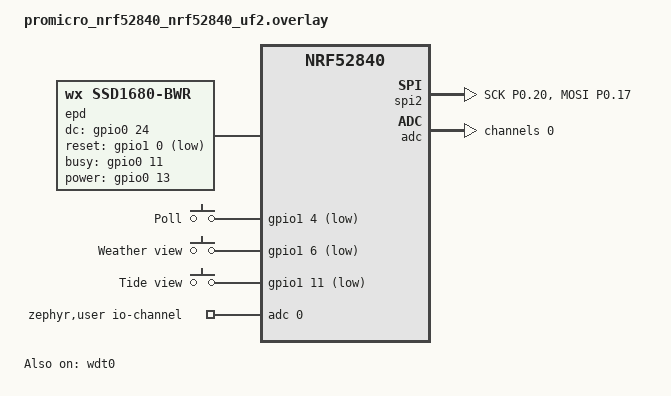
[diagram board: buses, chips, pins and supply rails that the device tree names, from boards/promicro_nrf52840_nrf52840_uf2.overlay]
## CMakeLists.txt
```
# SPDX-License-Identifier: Apache-2.0
cmake_minimum_required(VERSION 3.20.0)

list(APPEND DTS_ROOT ${CMAKE_CURRENT_SOURCE_DIR})

find_package(Zephyr REQUIRED HINTS $ENV{ZEPHYR_BASE})
project(wxpaper)

target_sources(app PRIVATE
	src/main.c
	src/epd_ssd1680.c
	src/framebuf.c
	src/battery.c
	src/wx_service.c
	src/button.c
)
target_sources_ifdef(CONFIG_WX_DEVCMD app PRIVATE src/devcmd.c)
```

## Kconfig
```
# SPDX-License-Identifier: Apache-2.0
mainmenu "WxPaper e-paper weather display"

menu "WxPaper"

config WX_POLL_INTERVAL_S
	int "Default poll interval (s)"
	default 600
	range 60 86400
	help
	  Time between wake-ups that advertise for new data. The host can
	  override it at runtime with the SET_INTERVAL control op.

config WX_RETRY_INTERVAL_S
	int "Retry interval after a failed poll (s)"
	default 300
	help
	  After a poll where no host connected, the next poll happens this
	  much sooner (once), in case the host was briefly unavailable.

config WX_ADV_WINDOW_S
	int "Advertising window per poll (s)"
	default 30

config WX_SESSION_TIMEOUT_S
	int "GATT inactivity timeout before the device disconnects (s)"
	default 20

config WX_STALE_AFTER_S
	int "Draw the offline marker after this long without host contact (s)"
	default 10800

config WX_LOW_BATT_MV
	int "Low battery threshold (mV): show marker"
	default 3400

config WX_CRIT_BATT_MV
	int "Critical battery threshold (mV): stop refreshing, poll slowly"
	default 3300

config WX_CRIT_POLL_INTERVAL_S
	int "Poll interval while battery is critical (s)"
	default 7200

config WX_TIDE_VIEW_S
	int "Tide view auto-return to weather after (s)"
	default 180
	range 10 86400
	help
	  After the TIDE button, the panel goes back to the weather view this
	  long after the tide view was drawn, unless the WEATHER (home) button
	  is pressed first. Another TIDE press restarts the timer.

config WX_ROTATION
	int "Landscape rotation used by on-device overlays (90 or 270)"
	default 90
	help
	  Must match the host renderer's `rotate` setting so the device's own
	  splash/offline text is upright.

config WX_EPD_RED_INVERT
	bool "Invert the red RAM plane when writing to the panel"
	help
	  Protocol payloads use 1 = red. Some SSD1680 B/W/R panels expect
	  0 = red in RAM 0x26; enable this if red areas come out inverted.

config WX_EPD_BUSY_TIMEOUT_MS
	int "Max time to wait for a full refresh (ms)"
	default 40000

config WX_WDT_TIMEOUT_S
	int "Watchdog timeout (s)"
	default 10800
	help
	  The watchdog keeps running while the CPU sleeps; the main loop
	  sleeps in chunks of at most WX_WDT_TIMEOUT_S / 3 and feeds it.

config WX_DEVCMD
	bool "Debug command console on the USB CDC ACM port"
	depends on SERIAL && UART_INTERRUPT_DRIVEN && UART_LINE_CTRL
	help
	  Line commands poll / reset / boot / help, plus 1200-baud touch to
	  enter the UF2 bootloader. Also owns USB power management: the USB
	  device is enabled only while VBUS is present.

endmenu

source "Kconfig.zephyr"
```

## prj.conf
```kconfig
# ---- Production (battery) configuration. Debug extras live in debug.conf ----

# USB CDC ACM console + logging, powered only while a cable is attached.
# The board helper registers the CDC ACM UART, but must NOT enable USB at boot:
# udc_nrf_enable() requests the HFXO (~250+ uA continuous) regardless of VBUS.
# src/devcmd.c enables USB on VBUS_READY and disables it on VBUS_REMOVED.
CONFIG_BOARD_SERIAL_BACKEND_CDC_ACM=y
CONFIG_CDC_ACM_SERIAL_ENABLE_AT_BOOT=n
CONFIG_LOG=y
CONFIG_LOG_BACKEND_UART=y
CONFIG_LOG_DEFAULT_LEVEL=3
CONFIG_UART_INTERRUPT_DRIVEN=y
CONFIG_UART_LINE_CTRL=y
# Dev console: poll / reset / boot, 1200-baud touch -> UF2 bootloader
CONFIG_WX_DEVCMD=y

# Peripherals
CONFIG_GPIO=y
CONFIG_SPI=y
CONFIG_ADC=y
CONFIG_WATCHDOG=y
CONFIG_CRC=y
CONFIG_HWINFO=y

# Power management: SPIM suspends between transfers (pins disconnected)
CONFIG_PM_DEVICE=y
CONFIG_PM_DEVICE_RUNTIME=y

# Bluetooth peripheral
CONFIG_BT=y
CONFIG_BT_PERIPHERAL=y
CONFIG_BT_DEVICE_NAME="WxPaper"
CONFIG_BT_MAX_CONN=1
CONFIG_BT_MAX_PAIRED=0
CONFIG_BT_SMP=n
CONFIG_BT_GATT_CACHING=n
CONFIG_BT_GATT_SERVICE_CHANGED=n
CONFIG_BT_DIS=n

# Throughput: 247-byte MTU, 251-byte data length, 2M PHY
CONFIG_BT_L2CAP_TX_MTU=247
CONFIG_BT_BUF_ACL_TX_SIZE=251
CONFIG_BT_BUF_ACL_RX_SIZE=251
CONFIG_BT_BUF_ACL_RX_COUNT_EXTRA=8
CONFIG_BT_CTLR_DATA_LENGTH_MAX=251
CONFIG_BT_USER_DATA_LEN_UPDATE=y
CONFIG_BT_USER_PHY_UPDATE=y
CONFIG_BT_GAP_AUTO_UPDATE_CONN_PARAMS=n
# Note: CONFIG_BT_CONN_PARAM_UPDATE_TIMEOUT=0 (request the fast interval at
# once) was tried in bring-up: BlueZ then forced its 48.75 ms default anyway.
# Kept at the spec default (5 s); see docs/bringup-log.md.

# Stacks
CONFIG_MAIN_STACK_SIZE=2048
CONFIG_SYSTEM_WORKQUEUE_STACK_SIZE=2048

# Robustness
CONFIG_RESET_ON_FATAL_ERROR=y
CONFIG_ASSERT=n
CONFIG_REBOOT=y
```

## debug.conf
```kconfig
# Debug overlay: west build ... -- -DEXTRA_CONF_FILE=debug.conf
# The USB console and logging are in prj.conf (USB powered only with a cable).
# Debug adds asserts and halts on fatal errors instead of resetting.
CONFIG_ASSERT=y
CONFIG_RESET_ON_FATAL_ERROR=n
# Poll cadence uses the production defaults (30 min / 5 min retry / 3 h stale).
# Trigger an immediate poll with `scripts/devcmd.sh poll` or the poll button.
```

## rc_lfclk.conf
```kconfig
# For ProMicro clones without a 32.768 kHz crystal: use the internal RC
# oscillator (calibrated). Costs ~1 uA extra and wider BLE RX windows.
#   west build ... -- -DEXTRA_CONF_FILE=rc_lfclk.conf
CONFIG_CLOCK_CONTROL_NRF_K32SRC_RC=y
CONFIG_CLOCK_CONTROL_NRF_K32SRC_500PPM=y
```

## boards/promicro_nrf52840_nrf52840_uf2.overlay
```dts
/*
 * nice!nano / ProMicro nRF52840 + 2.9" SSD1680 B/W/R breakout.
 * Wiring (see docs/hardware.md):
 *   breakout  ->  nice!nano pin
 *   VCC       ->  VCC (3.3 V, switched by P0.13)
 *   GND       ->  GND
 *   CLK/SCL   ->  P0.20 (D3)
 *   DIN/SDA   ->  P0.17 (D2)
 *   CS        ->  P0.22 (D4)
 *   DC        ->  P0.24 (D5)
 *   RST       ->  P1.00 (D6)
 *   BUSY      ->  P0.11 (D7)
 *
 * Buttons: momentary switches to GND (internal pull-ups, active low):
 *   POLL    -> P1.04 (D8)   poll the host now
 *   WEATHER -> P1.06 (D9)   show weather view
 *   TIDE    -> P1.11 (D14)  show tide view
 */
#include <zephyr/dt-bindings/adc/nrf-saadc.h>

/ {
	chosen {
		/* Release build has no console; debug.conf re-enables CDC ACM. */
	};

	epd: epd {
		compatible = "wx,ssd1680-bwr";
		spi-bus = <&spi2>;
		spi-max-frequency = <4000000>;
		cs-gpios = <&gpio0 22 GPIO_ACTIVE_LOW>;
		dc-gpios = <&gpio0 24 GPIO_ACTIVE_HIGH>;
		reset-gpios = <&gpio1 0 GPIO_ACTIVE_LOW>;
		busy-gpios = <&gpio0 11 GPIO_ACTIVE_HIGH>;
		/* nice!nano v2: P0.13 high enables the VCC pin. Delete on boards without it. */
		power-gpios = <&gpio0 13 GPIO_ACTIVE_HIGH>;
		power-on-delay-ms = <20>;
	};

	buttons {
		compatible = "gpio-keys";
		/* Press = poll the host now (works on battery; no USB needed). */
		poll_button: poll_button {
			gpios = <&gpio1 4 (GPIO_PULL_UP | GPIO_ACTIVE_LOW)>;
			label = "Poll";
		};
		/* Press = show the weather / tide view (redrawn from images stored on the device). */
		weather_button: weather_button {
			gpios = <&gpio1 6 (GPIO_PULL_UP | GPIO_ACTIVE_LOW)>;
			label = "Weather view";
		};
		tide_button: tide_button {
			gpios = <&gpio1 11 (GPIO_PULL_UP | GPIO_ACTIVE_LOW)>;
			label = "Tide view";
		};
	};

	zephyr,user {
		io-channels = <&adc 0>;
	};
};

&pinctrl {
	spi2_epd_default: spi2_epd_default {
		group1 {
			psels = <NRF_PSEL(SPIM_SCK, 0, 20)>,
				<NRF_PSEL(SPIM_MOSI, 0, 17)>;
		};
	};

	spi2_epd_sleep: spi2_epd_sleep {
		group1 {
			psels = <NRF_PSEL(SPIM_SCK, 0, 20)>,
				<NRF_PSEL(SPIM_MOSI, 0, 17)>;
			low-power-enable;
		};
	};
};

&spi2 {
	compatible = "nordic,nrf-spim";
	status = "okay";
	pinctrl-0 = <&spi2_epd_default>;
	pinctrl-1 = <&spi2_epd_sleep>;
	pinctrl-names = "default", "sleep";
	/* Suspend (pins -> disconnected) whenever no transfer is running. */
	zephyr,pm-device-runtime-auto;
};

/* Battery: nice!nano feeds the cell to VDDH; measure VDDH/5 internally. */
&adc {
	#address-cells = <1>;
	#size-cells = <0>;
	status = "okay";
	zephyr,pm-device-runtime-auto;

	channel@0 {
		reg = <0>;
		zephyr,gain = "ADC_GAIN_1_6";
		zephyr,reference = "ADC_REF_INTERNAL";
		zephyr,acquisition-time = <ADC_ACQ_TIME(ADC_ACQ_TIME_MICROSECONDS, 40)>;
		zephyr,input-positive = <NRF_SAADC_VDDHDIV5>;
		zephyr,resolution = <12>;
		zephyr,oversampling = <4>;
	};
};

/* Unused peripherals off: nothing left clocked or holding pins. */
&uart0 { status = "disabled"; };
&i2c0 { status = "disabled"; };
&i2c1 { status = "disabled"; };
&pwm0 { status = "disabled"; };
&ieee802154 { status = "disabled"; };

&wdt0 { status = "okay"; };

/*
 * Edge detection for the buttons via the GPIO SENSE/PORT mechanism instead of a
 * GPIOTE IN channel: GPIOTE IN events keep extra clocks running (~tens of uA),
 * SENSE costs ~nothing in System ON idle.
 */
&gpio1 {
	sense-edge-mask = <((1 << 4) | (1 << 6) | (1 << 11))>;
};
```

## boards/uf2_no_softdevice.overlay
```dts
/*
 * For Adafruit-UF2-bootloader boards WITHOUT a SoftDevice (INFO_UF2.TXT says
 * "SoftDevice: not found", common on ProMicro/SuperMini clones). The bootloader
 * then starts the app right after the MBR at 0x1000 instead of 0x26000.
 *   west build ... -- -DEXTRA_DTC_OVERLAY_FILE=boards/uf2_no_softdevice.overlay
 * Layout: 0x0 MBR (4 KB) | 0x1000 app (940 KB) | 0xEC000 storage | 0xF4000 UF2 bootloader
 */
/delete-node/ &code_partition;
/delete-node/ &reserved_partition_0;

&flash0 {
	partitions {
		mbr_partition: partition@0 {
			label = "MBR";
			read-only;
			reg = <0x00000000 0x00001000>;
		};

		code_partition: partition@1000 {
			label = "Application";
			reg = <0x00001000 0x000eb000>;
		};
	};
};
```

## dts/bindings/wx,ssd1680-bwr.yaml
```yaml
# SPDX-License-Identifier: Apache-2.0
description: |
  SSD1680 black/white/red e-paper panel driven directly by the app (not
  via Zephyr's mono-only ssd16xx driver). Chip select is a plain GPIO so
  every line to the panel can be disconnected while panel power is off.

compatible: "wx,ssd1680-bwr"

include: base.yaml

properties:
  spi-bus:
    type: phandle
    required: true
    description: SPI controller the panel is wired to.
  spi-max-frequency:
    type: int
    default: 4000000
  cs-gpios:
    type: phandle-array
    required: true
  dc-gpios:
    type: phandle-array
    required: true
    description: Data/command select (high = data).
  reset-gpios:
    type: phandle-array
    required: true
  busy-gpios:
    type: phandle-array
    required: true
    description: BUSY output of the panel, active high.
  power-gpios:
    type: phandle-array
    description: |
      Optional switch for panel supply (nice!nano VCC switch on P0.13).
      Active state = panel powered.
  power-on-delay-ms:
    type: int
    default: 20
```

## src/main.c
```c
/*
 * WxPaper: battery-powered BLE e-paper weather display.
 * Main state machine: poll host -> (maybe) refresh panel -> sleep.
 * See docs/firmware.md.
 *
 * SPDX-License-Identifier: Apache-2.0
 */
#include <zephyr/device.h>
#include <zephyr/drivers/hwinfo.h>
#include <zephyr/drivers/watchdog.h>
#include <zephyr/kernel.h>
#include <zephyr/logging/log.h>
#include <zephyr/sys/atomic.h>
#include <zephyr/sys/crc.h>
#include <zephyr/sys/reboot.h>

#include <string.h>

#include "battery.h"
#include "button.h"
#include "devcmd.h"
#include "epd_ssd1680.h"
#include "framebuf.h"
#include "wake.h"
#include "wx_service.h"

LOG_MODULE_REGISTER(main, LOG_LEVEL_INF);

static uint8_t fb[FB_BYTES];

static const struct device *const wdt = DEVICE_DT_GET_OR_NULL(DT_NODELABEL(wdt0));
static int wdt_channel = -1;

static void wdt_start(void)
{
	if (!wdt || !device_is_ready(wdt)) {
		return;
	}
	const struct wdt_timeout_cfg cfg = {
		.window = {.min = 0, .max = (uint32_t)CONFIG_WX_WDT_TIMEOUT_S * 1000U},
		.flags = WDT_FLAG_RESET_SOC,
	};

	wdt_channel = wdt_install_timeout(wdt, &cfg);
	if (wdt_channel < 0) {
		LOG_ERR("wdt install %d", wdt_channel);
		return;
	}
	/* Keep counting while the CPU sleeps: catches a hung main loop. */
	int err = wdt_setup(wdt, WDT_OPT_PAUSE_HALTED_BY_DBG);

	if (err) {
		LOG_ERR("wdt setup %d", err);
		wdt_channel = -1;
	}
}

static void wdt_kick(void)
{
	if (wdt_channel >= 0) {
		(void)wdt_feed(wdt, wdt_channel);
	}
}

static K_SEM_DEFINE(wake_sem, 0, 1);

#define EV_POLL BIT(0)
#define EV_VIEW BIT(1)
static atomic_t events;
static atomic_t req_view = ATOMIC_INIT(WX_VIEW_WEATHER);

void wx_wake_now(void)
{
	atomic_or(&events, EV_POLL);
	k_sem_give(&wake_sem);
}

void wx_request_view(int view)
{
	atomic_set(&req_view, view);
	atomic_or(&events, EV_VIEW);
	k_sem_give(&wake_sem);
}

/*
 * Sleep until the uptime deadline, in chunks short enough to keep feeding
 * the watchdog. Ends early on a wake request (poll or view button, debug
 * console). The CPU idles in System ON either way: a semaphore wait with
 * timeout costs the same as k_sleep(). A request made while polling or
 * refreshing is kept: it ends this sleep at once.
 */
static void sleep_until(int64_t deadline_ms)
{
	const int64_t chunk_ms = (int64_t)MAX(CONFIG_WX_WDT_TIMEOUT_S / 3, 60) * 1000;

	for (;;) {
		int64_t remaining = deadline_ms - k_uptime_get();

		if (remaining <= 0) {
			return;
		}
		bool woken = k_sem_take(&wake_sem, K_MSEC(MIN(remaining, chunk_ms))) == 0;

		wdt_kick();
		if (woken) {
			return;
		}
	}
}

/*
 * Build what the panel should show: the selected view's stored image (or a
 * placeholder if the host never sent one), plus the OFFLINE badge if stale.
 * Slot images stay untouched, so overlays come and go without the host
 * having to resend anything.
 */
static void compose(int view, bool stale)
{
	uint32_t crc;
	const uint8_t *img = wx_slot(view, &crc);

	if (img) {
		memcpy(fb, img, FB_BYTES);
		if (stale) {
			fb_draw_offline(fb);
		}
	} else if (view == WX_VIEW_TIDE) {
		fb_draw_splash(fb, "TIDES", "NO DATA YET");
	} else {
		fb_draw_splash(fb, "WXPAPER", "WAITING FOR HOST");
	}
}

/* Full refresh; returns the CRC now on the panel (0 = unknown, retry next time). */
static uint32_t refresh(struct wx_status *st)
{
	int err = epd_show(fb, fb + EPD_PLANE_BYTES);

	st->refresh_count++;
	if (err) {
		st->flags |= WX_FLAG_REFRESH_FAILED;
		return 0;
	}
	st->flags &= ~WX_FLAG_REFRESH_FAILED;
	return crc32_ieee(fb, FB_BYTES);
}

/*
 * The splash costs a full refresh; only draw it when a person caused the
 * reset (power-on, reset button), not after a watchdog/fault/software reset,
 * so a crash loop doesn't keep flashing the panel and draining the cell.
 */
static bool want_splash(void)
{
	uint32_t cause = 0;

	if (hwinfo_get_reset_cause(&cause) != 0) {
		return true;
	}
	(void)hwinfo_clear_reset_cause();
	/* nRF reports a plain power-on as cause 0; RESETREAS bits accumulate until cleared. */
	return (cause & RESET_PIN) ||
	       !(cause & (RESET_WATCHDOG | RESET_SOFTWARE | RESET_CPU_LOCKUP));
}

int main(void)
{
	struct wx_status st = {
		.battery_pct = 255,
		.flags = WX_FLAG_NO_IMAGE,
		.view = WX_VIEW_WEATHER,
	};
	int64_t last_contact_ms = k_uptime_get();
	int64_t next_poll_ms = 0; /* poll right after boot */
	int64_t tide_until_ms = 0; /* tide view: auto-return to weather at this uptime */
	bool tide_timer_pending = false; /* start the timer once the tide view is drawn */
	uint32_t shown_crc;       /* CRC of the composed image on the panel */
	bool retry_pending = false;
	bool stale = false;
	bool crit = false;
	bool crit_shown = false;
	int err;

	wdt_start();
#if defined(CONFIG_WX_DEVCMD)
	(void)devcmd_init();
#endif
	err = button_init();
	if (err && err != -ENODEV) {
		LOG_ERR("button init %d", err);
	}

	err = epd_init();
	if (err) {
		LOG_ERR("epd init %d", err);
	}
	err = battery_init();
	if (err) {
		LOG_ERR("battery init %d", err);
	}
	err = wx_service_init();
	if (err) {
		LOG_ERR("bt init %d", err);
		/* Without BLE the device is useless: back off, then reboot and retry. */
		k_sleep(K_SECONDS(60));
		sys_reboot(SYS_REBOOT_COLD);
	}

	int mv = battery_read_mv();

	compose(st.view, false);
	if (want_splash() && (mv <= 0 || mv >= CONFIG_WX_CRIT_BATT_MV)) {
		shown_crc = refresh(&st);
	} else {
		/* Leave the panel alone; the first host image will differ and refresh it. */
		shown_crc = crc32_ieee(fb, FB_BYTES);
	}

	for (;;) {
		sleep_until(st.view == WX_VIEW_TIDE && !tide_timer_pending
				    ? MIN(next_poll_ms, tide_until_ms)
				    : next_poll_ms);
		wdt_kick();

		uint32_t ev = (uint32_t)atomic_clear(&events);
		bool do_poll = (ev & EV_POLL) || k_uptime_get() >= next_poll_ms;

		if (ev & EV_VIEW) {
			int v = (int)atomic_get(&req_view);

			if (v != st.view) {
				LOG_INF("view %d -> %d", st.view, v);
				st.view = (uint8_t)v;
			}
			/* A (repeated) TIDE press (re)starts the return-to-weather timer. */
			tide_timer_pending = v == WX_VIEW_TIDE;
		} else if (st.view == WX_VIEW_TIDE && !tide_timer_pending &&
			   k_uptime_get() >= tide_until_ms) {
			LOG_INF("tide view timeout -> weather");
			st.view = WX_VIEW_WEATHER;
		}

		if (do_poll) {
			mv = battery_read_mv();
			bool mv_valid = mv > 0;
			bool low = mv_valid && mv < CONFIG_WX_LOW_BATT_MV;

			crit = mv_valid && mv < CONFIG_WX_CRIT_BATT_MV;
			st.battery_mv = mv_valid ? (uint16_t)mv : 0;
			st.battery_pct = mv_valid ? battery_pct(mv) : 255;
			WRITE_BIT(st.flags, 1, low); /* WX_FLAG_LOW_BATT */

			wx_service_set_status(&st);
			enum wx_poll_result res = wx_poll();
			int64_t now = k_uptime_get();
			uint32_t crc0;

			LOG_INF("poll result %d, batt %d mV", res, mv);
			WRITE_BIT(st.flags, 2, wx_slot(WX_SLOT_WEATHER, &crc0) == NULL);

			if (res != WX_POLL_NO_CONTACT) {
				last_contact_ms = now;
				retry_pending = false;
				stale = false;
			} else {
				/* Never call it stale before at least two polls were missed. */
				int64_t stale_s = MAX((int64_t)CONFIG_WX_STALE_AFTER_S,
						      2 * (int64_t)wx_poll_interval_s() + 300);

				stale = (now - last_contact_ms) / 1000 >= stale_s;
			}
			WRITE_BIT(st.flags, 0, stale); /* WX_FLAG_STALE_SHOWN */

			uint32_t interval =
				crit ? CONFIG_WX_CRIT_POLL_INTERVAL_S : wx_poll_interval_s();

			if (res == WX_POLL_NO_CONTACT && !retry_pending) {
				/* One early retry per outage; cleared on the next contact. */
				retry_pending = true;
				interval = MIN(interval, CONFIG_WX_RETRY_INTERVAL_S);
			}
			next_poll_ms = now + (int64_t)interval * 1000;
		}

		if (crit) {
			/*
			 * A full refresh draws several mA for ~20 s and can brown out a
			 * nearly empty cell. Show LOW BATTERY once, then stop refreshing
			 * (view buttons included) until the cell recovers.
			 */
			if (!crit_shown) {
				compose(st.view, stale);
				fb_draw_low_batt(fb);
				(void)refresh(&st);
				shown_crc = 0; /* redraw without the badge once charged */
				crit_shown = true;
			}
			/* No refreshes: stay on (and report) the weather view. */
			st.view = WX_VIEW_WEATHER;
			tide_timer_pending = false;
			continue;
		}
		crit_shown = false;

		/* Refresh only if the composed image differs from what is on the panel. */
		compose(st.view, stale);
		if (crc32_ieee(fb, FB_BYTES) != shown_crc) {
			shown_crc = refresh(&st);
		}
		if (tide_timer_pending) {
			/* Counted from when the tide view is on the panel, not from the press. */
			tide_until_ms = k_uptime_get() + (int64_t)CONFIG_WX_TIDE_VIEW_S * 1000;
			tide_timer_pending = false;
		}
	}

	return 0;
}
```

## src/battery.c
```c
/*
 * Battery voltage via SAADC VDDH/5 (nice!nano runs the nRF52840 in
 * high-voltage mode with the cell on VDDH). One-shot sample per poll.
 * SPDX-License-Identifier: Apache-2.0
 */
#include "battery.h"

#include <errno.h>
#include <zephyr/devicetree.h>
#include <zephyr/drivers/adc.h>
#include <zephyr/sys/util.h>

static const struct adc_dt_spec vddh = ADC_DT_SPEC_GET_BY_IDX(DT_PATH(zephyr_user), 0);

int battery_init(void)
{
	if (!adc_is_ready_dt(&vddh)) {
		return -ENODEV;
	}
	return adc_channel_setup_dt(&vddh);
}

int battery_read_mv(void)
{
	int16_t raw = 0;
	struct adc_sequence seq = {
		.buffer = &raw,
		.buffer_size = sizeof(raw),
	};
	int err = adc_sequence_init_dt(&vddh, &seq);

	if (!err) {
		err = adc_read_dt(&vddh, &seq);
	}
	if (err) {
		return err;
	}

	int32_t mv = MAX(raw, 0);

	err = adc_raw_to_millivolts_dt(&vddh, &mv);
	if (err) {
		return err;
	}
	return (int)(mv * 5); /* VDDH/5 input */
}

uint8_t battery_pct(int mv)
{
	/* Resting LiPo discharge curve (approximate). */
	static const struct {
		uint16_t mv;
		uint8_t pct;
	} curve[] = {
		{4200, 100}, {4100, 90}, {4000, 79}, {3900, 66}, {3800, 52}, {3750, 42},
		{3700, 31}, {3650, 21}, {3600, 13}, {3500, 6}, {3400, 3}, {3300, 0},
	};

	if (mv >= curve[0].mv) {
		return 100;
	}
	for (size_t i = 1; i < ARRAY_SIZE(curve); i++) {
		if (mv >= curve[i].mv) {
			int span = curve[i - 1].mv - curve[i].mv;
			int dp = curve[i - 1].pct - curve[i].pct;

			return (uint8_t)(curve[i].pct + (mv - curve[i].mv) * dp / span);
		}
	}
	return 0;
}
```

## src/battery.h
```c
/*
 * SPDX-License-Identifier: Apache-2.0
 */
#pragma once

#include <stdint.h>

int battery_init(void);
/* Returns battery (VDDH) voltage in mV, or negative errno. ADC is idle afterwards. */
int battery_read_mv(void);
/* Rough LiPo state of charge from voltage (0..100). */
uint8_t battery_pct(int mv);
```

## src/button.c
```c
/*
 * Push buttons (all optional, from devicetree):
 *   poll_button    - poll the host immediately
 *   weather_button - show the weather view
 *   tide_button    - show the tide view
 * All work in release (battery) builds. Edge detection uses GPIO SENSE (see
 * `sense-edge-mask` in the board overlay), so waiting for a press costs
 * nothing in System ON idle. The user LED blinks briefly as acknowledgement,
 * since a poll that finds no new data (or a press of the view already shown)
 * changes nothing on the panel.
 *
 * SPDX-License-Identifier: Apache-2.0
 */
#include "button.h"

#include <errno.h>
#include <zephyr/devicetree.h>
#include <zephyr/drivers/gpio.h>
#include <zephyr/kernel.h>
#include <zephyr/logging/log.h>
#include <zephyr/sys/util.h>

#include "wake.h"

LOG_MODULE_REGISTER(button, LOG_LEVEL_INF);

#define DEBOUNCE_MS 30
#define BLINK_MS    50

struct button {
	struct gpio_dt_spec spec;
	const char *name;
	void (*action)(void);
	struct gpio_callback cb;
	struct k_work_delayable debounce;
};

static void act_poll(void)
{
	wx_wake_now();
}

static void act_weather(void)
{
	wx_request_view(WX_VIEW_WEATHER);
}

static void act_tide(void)
{
	wx_request_view(WX_VIEW_TIDE);
}

#define BUTTON_ENTRY(label, fn)                                                                    \
	IF_ENABLED(DT_NODE_EXISTS(DT_NODELABEL(label)),                                            \
		   ({.spec = GPIO_DT_SPEC_GET(DT_NODELABEL(label), gpios),                         \
		     .name = #label,                                                               \
		     .action = fn},))

static struct button buttons[] = {
	BUTTON_ENTRY(poll_button, act_poll)
	BUTTON_ENTRY(weather_button, act_weather)
	BUTTON_ENTRY(tide_button, act_tide)
};

#if DT_NODE_EXISTS(DT_ALIAS(led0))
static const struct gpio_dt_spec led = GPIO_DT_SPEC_GET(DT_ALIAS(led0), gpios);
#define HAVE_LED 1
#else
#define HAVE_LED 0
#endif

static void led_off_fn(struct k_work *work)
{
	ARG_UNUSED(work);
#if HAVE_LED
	gpio_pin_set_dt(&led, 0);
	/* Back to disconnected: no pin left driven in sleep. */
	gpio_pin_configure_dt(&led, GPIO_DISCONNECTED);
#endif
}
static K_WORK_DELAYABLE_DEFINE(led_off_work, led_off_fn);

static void debounce_fn(struct k_work *work)
{
	struct button *b =
		CONTAINER_OF(k_work_delayable_from_work(work), struct button, debounce);

	if (gpio_pin_get_dt(&b->spec) <= 0) {
		return; /* bounce / glitch */
	}
	LOG_INF("%s pressed", b->name);
#if HAVE_LED
	gpio_pin_configure_dt(&led, GPIO_OUTPUT_ACTIVE);
	k_work_reschedule(&led_off_work, K_MSEC(BLINK_MS));
#endif
	b->action();
}

static void btn_isr(const struct device *dev, struct gpio_callback *cb, uint32_t pins)
{
	ARG_UNUSED(dev);
	ARG_UNUSED(pins);
	struct button *b = CONTAINER_OF(cb, struct button, cb);

	k_work_reschedule(&b->debounce, K_MSEC(DEBOUNCE_MS));
}

int button_init(void)
{
	int found = 0;

	for (size_t i = 0; i < ARRAY_SIZE(buttons); i++) {
		struct button *b = &buttons[i];
		int err;

		if (!gpio_is_ready_dt(&b->spec)) {
			LOG_ERR("%s: gpio not ready", b->name);
			continue;
		}
		k_work_init_delayable(&b->debounce, debounce_fn);
		err = gpio_pin_configure_dt(&b->spec, GPIO_INPUT);
		if (!err) {
			gpio_init_callback(&b->cb, btn_isr, BIT(b->spec.pin));
			err = gpio_add_callback_dt(&b->spec, &b->cb);
		}
		if (!err) {
			err = gpio_pin_interrupt_configure_dt(&b->spec, GPIO_INT_EDGE_TO_ACTIVE);
		}
		if (err) {
			LOG_ERR("%s: init %d", b->name, err);
			return err;
		}
		found++;
	}
	return found ? 0 : -ENODEV;
}
```

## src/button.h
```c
/*
 * SPDX-License-Identifier: Apache-2.0
 */
#pragma once

/* Buttons (DT nodes poll_button, weather_button, tide_button). -ENODEV if none. */
int button_init(void);
```

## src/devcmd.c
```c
/*
 * Command console on the USB CDC ACM port (CONFIG_WX_DEVCMD), present in
 * production builds. USB is powered only while a cable is attached.
 *
 * Line commands (terminated by CR or LF):
 *   poll   wake the main loop and poll the host now (no reboot)
 *   weather / tide  switch the panel view (same as the view buttons)
 *   reset  software reset (no splash refresh; polls right after boot)
 *   boot   reboot into the Adafruit UF2 bootloader (PROMICRO drive)
 *   status uptime, battery, USB enable path/time, reset cause
 *   help   list commands
 * Opening the port at 1200 baud also reboots into the bootloader
 * (Arduino-style "1200 bps touch"), e.g. `stty -F /dev/ttyACM0 1200`.
 *
 * USB power: the board's CDC ACM helper registers the device but does not
 * enable it (CONFIG_CDC_ACM_SERIAL_ENABLE_AT_BOOT=n), because enabling the nRF
 * USBD requests the HFXO whether or not VBUS is present. Here USB is enabled
 * on VBUS_READY and disabled on VBUS_REMOVED, so on battery the USB stack
 * costs nothing (no clock, no wakeups). Log output written while unplugged
 * goes into the CDC ring buffer and is dropped when it fills.
 *
 * SPDX-License-Identifier: Apache-2.0
 */
#include "devcmd.h"

#include "battery.h"

#include <string.h>
#include <zephyr/device.h>
#include <zephyr/drivers/hwinfo.h>
#include <zephyr/drivers/uart.h>
#include <zephyr/kernel.h>
#include <zephyr/logging/log.h>
#include <zephyr/logging/log_ctrl.h>
#include <zephyr/sys/iterable_sections.h>
#include <zephyr/sys/reboot.h>
#include <zephyr/usb/usbd.h>
#include <hal/nrf_power.h>

LOG_MODULE_REGISTER(devcmd, LOG_LEVEL_INF);

/* Adafruit nRF52 bootloader: GPREGRET magic that starts UF2 mass-storage DFU. */
#define DFU_MAGIC_UF2_RESET 0x57

static const struct device *const uart = DEVICE_DT_GET(DT_CHOSEN(zephyr_console));

static char line[16];
static size_t line_len;
static char pending[sizeof(line)];

/* How/when USB was last enabled (logs written at that moment never reach a
 * host: the port isn't open yet). Reported by `status`.
 */
static const char *usb_en_via = "never";
static int64_t usb_en_uptime_ms = -1;
static uint32_t boot_reset_cause;

static void cmd_work_fn(struct k_work *work);
static K_WORK_DEFINE(cmd_work, cmd_work_fn);

static void reboot_to_bootloader(void)
{
	LOG_WRN("rebooting into UF2 bootloader");
	log_flush();
	k_msleep(100); /* let USB push the line out */
	nrf_power_gpregret_set(NRF_POWER, 0, DFU_MAGIC_UF2_RESET);
	sys_reboot(SYS_REBOOT_COLD);
}

static void cmd_work_fn(struct k_work *work)
{
	ARG_UNUSED(work);

	if (strcmp(pending, "poll") == 0) {
		LOG_INF("poll requested");
		wx_wake_now();
	} else if (strcmp(pending, "weather") == 0 || strcmp(pending, "tide") == 0) {
		LOG_INF("%s view requested", pending);
		wx_request_view(pending[0] == 't' ? WX_VIEW_TIDE : WX_VIEW_WEATHER);
	} else if (strcmp(pending, "reset") == 0) {
		LOG_WRN("software reset");
		log_flush();
		k_msleep(100);
		sys_reboot(SYS_REBOOT_COLD);
	} else if (strcmp(pending, "boot") == 0) {
		reboot_to_bootloader();
	} else if (strcmp(pending, "status") == 0) {
		int mv = battery_read_mv();

		LOG_INF("status: uptime %lld s, batt %d mV, reset cause 0x%08x",
			k_uptime_get() / 1000, mv, boot_reset_cause);
		LOG_INF("status: USB enabled via %s at uptime %lld s", usb_en_via,
			usb_en_uptime_ms < 0 ? -1LL : usb_en_uptime_ms / 1000);
	} else if (pending[0] != '\0') {
		LOG_INF("commands: poll | weather | tide | reset | boot | status | help  (1200-baud open = boot)");
	}
}

static void uart_cb(const struct device *dev, void *user_data)
{
	ARG_UNUSED(user_data);

	while (uart_irq_update(dev) && uart_irq_rx_ready(dev)) {
		uint8_t buf[16];
		int n = uart_fifo_read(dev, buf, sizeof(buf));

		for (int i = 0; i < n; i++) {
			char c = (char)buf[i];

			if (c == '\r' || c == '\n') {
				if (line_len && !k_work_is_pending(&cmd_work)) {
					line[line_len] = '\0';
					memcpy(pending, line, line_len + 1);
					k_work_submit(&cmd_work);
				}
				line_len = 0;
			} else if (line_len < sizeof(line) - 1) {
				line[line_len++] = c;
			}
		}
	}
}

static void usb_msg_cb(struct usbd_context *const ctx, const struct usbd_msg *msg)
{
	switch (msg->type) {
	case USBD_MSG_VBUS_READY:
		if (usbd_enable(ctx) == 0) {
			usb_en_via = "VBUS_READY event";
			usb_en_uptime_ms = k_uptime_get();
			LOG_INF("USB cable detected: USB enabled");
		}
		break;
	case USBD_MSG_VBUS_REMOVED:
		(void)usbd_disable(ctx); /* releases the HFXO */
		break;
	case USBD_MSG_CDC_ACM_LINE_CODING: {
		/* 1200-baud touch: host opened the port at 1200 bps. */
		uint32_t baud = 0;

		if (uart_line_ctrl_get(msg->dev, UART_LINE_CTRL_BAUD_RATE, &baud) == 0 &&
		    baud == 1200) {
			reboot_to_bootloader();
		}
		break;
	}
	default:
		break;
	}
}

static int usb_power_init(void)
{
	int n = 0;

	STRUCT_SECTION_FOREACH(usbd_context, ctx) {
		int err = usbd_msg_register_cb(ctx, usb_msg_cb);

		if (err) {
			LOG_ERR("usbd msg cb %d", err);
			continue;
		}
		n++;
		/*
		 * A cable present at boot may have raised VBUS_READY before the
		 * callback existed: check the USB regulator status directly.
		 */
		if (nrf_power_usbregstatus_vbusdet_get(NRF_POWER) && usbd_enable(ctx) == 0) {
			usb_en_via = "boot-time VBUS check";
			usb_en_uptime_ms = k_uptime_get();
		}
	}
	return n ? 0 : -ENODEV;
}

int devcmd_init(void)
{
	if (!device_is_ready(uart)) {
		return -ENODEV;
	}
	/* main.c's want_splash() clears RESETREAS later; read it first. */
	(void)hwinfo_get_reset_cause(&boot_reset_cause);
	(void)usb_power_init();
	uart_irq_callback_set(uart, uart_cb);
	uart_irq_rx_enable(uart);
	LOG_INF("dev console: poll | weather | tide | reset | boot | status | help");
	return 0;
}
```

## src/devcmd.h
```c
/*
 * SPDX-License-Identifier: Apache-2.0
 */
#pragma once

/* Start the debug command console (CONFIG_WX_DEVCMD). */
int devcmd_init(void);

#include "wake.h"
```

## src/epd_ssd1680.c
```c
/*
 * Minimal SSD1680 black/white/red e-paper driver (128x296).
 *
 * Init/refresh sequence follows the SSD1680 datasheet and the widely used
 * 2.9" B/W/R panel sequence (e.g. GxEPD2 GxEPD2_290_C90c). See docs/display.md.
 *
 * SPDX-License-Identifier: Apache-2.0
 */
#include "epd_ssd1680.h"

#include <errno.h>
#include <string.h>
#include <zephyr/device.h>
#include <zephyr/devicetree.h>
#include <zephyr/drivers/gpio.h>
#include <zephyr/drivers/spi.h>
#include <zephyr/kernel.h>
#include <zephyr/logging/log.h>
#include <zephyr/pm/device_runtime.h>

LOG_MODULE_REGISTER(epd, LOG_LEVEL_INF);

#define EPD_NODE DT_NODELABEL(epd)

/* SSD1680 commands */
#define CMD_DRIVER_OUTPUT     0x01
#define CMD_DEEP_SLEEP        0x10
#define CMD_DATA_ENTRY        0x11
#define CMD_SW_RESET          0x12
#define CMD_TEMP_SENSOR       0x18
#define CMD_MASTER_ACTIVATE   0x20
#define CMD_UPDATE_CTRL1      0x21
#define CMD_UPDATE_CTRL2      0x22
#define CMD_WRITE_RAM_BW      0x24
#define CMD_WRITE_RAM_RED     0x26
#define CMD_BORDER_WAVEFORM   0x3C
#define CMD_RAM_X_RANGE       0x44
#define CMD_RAM_Y_RANGE       0x45
#define CMD_RAM_X_COUNTER     0x4E
#define CMD_RAM_Y_COUNTER     0x4F

static const struct device *const spi_dev = DEVICE_DT_GET(DT_PHANDLE(EPD_NODE, spi_bus));
static const struct gpio_dt_spec cs = GPIO_DT_SPEC_GET(EPD_NODE, cs_gpios);
static const struct gpio_dt_spec dc = GPIO_DT_SPEC_GET(EPD_NODE, dc_gpios);
static const struct gpio_dt_spec rst = GPIO_DT_SPEC_GET(EPD_NODE, reset_gpios);
static const struct gpio_dt_spec busy = GPIO_DT_SPEC_GET(EPD_NODE, busy_gpios);
#if DT_NODE_HAS_PROP(EPD_NODE, power_gpios)
#define HAVE_POWER_SWITCH 1
static const struct gpio_dt_spec pwr = GPIO_DT_SPEC_GET(EPD_NODE, power_gpios);
#else
#define HAVE_POWER_SWITCH 0
#endif

static const struct spi_config spi_cfg = {
	.frequency = DT_PROP(EPD_NODE, spi_max_frequency),
	.operation = SPI_WORD_SET(8) | SPI_TRANSFER_MSB | SPI_OP_MODE_MASTER,
	/* .cs left zeroed: chip select is driven manually (see binding). */
};

static int spi_tx(const uint8_t *buf, size_t len)
{
	const struct spi_buf b = {.buf = (void *)buf, .len = len};
	const struct spi_buf_set set = {.buffers = &b, .count = 1};

	return spi_write(spi_dev, &spi_cfg, &set);
}

/*
 * Send a command followed by optional data. Data is streamed through a small
 * stack buffer so it is always in RAM (EasyDMA) and can be inverted on the fly.
 */
static int epd_cmd_stream(uint8_t cmd, const uint8_t *data, size_t len, bool invert)
{
	uint8_t chunk[64];
	int err;

	gpio_pin_set_dt(&cs, 1);
	gpio_pin_set_dt(&dc, 0);
	chunk[0] = cmd;
	err = spi_tx(chunk, 1);
	gpio_pin_set_dt(&dc, 1);

	while (!err && len) {
		size_t n = MIN(len, sizeof(chunk));

		for (size_t i = 0; i < n; i++) {
			chunk[i] = invert ? (uint8_t)~data[i] : data[i];
		}
		err = spi_tx(chunk, n);
		data += n;
		len -= n;
	}

	gpio_pin_set_dt(&cs, 0);
	return err;
}

static int epd_cmd(uint8_t cmd, const uint8_t *data, size_t len)
{
	return epd_cmd_stream(cmd, data, len, false);
}

static int epd_cmd1(uint8_t cmd, uint8_t val)
{
	return epd_cmd(cmd, &val, 1);
}

static int epd_wait_busy(int32_t timeout_ms)
{
	int64_t deadline = k_uptime_get() + timeout_ms;

	/* Sleep between polls: the CPU idles (System ON) while the panel works. */
	while (gpio_pin_get_dt(&busy) > 0) {
		if (k_uptime_get() > deadline) {
			LOG_ERR("BUSY timeout after %d ms", timeout_ms);
			return -ETIMEDOUT;
		}
		k_msleep(20);
	}
	return 0;
}

/* Every line to the panel floats: no back-powering through ESD diodes. */
static void epd_pins_release(void)
{
	gpio_pin_configure_dt(&busy, GPIO_DISCONNECTED);
	gpio_pin_configure_dt(&dc, GPIO_DISCONNECTED);
#if HAVE_POWER_SWITCH
	gpio_pin_configure_dt(&cs, GPIO_DISCONNECTED);
	gpio_pin_configure_dt(&rst, GPIO_DISCONNECTED);
	gpio_pin_configure_dt(&pwr, GPIO_OUTPUT_INACTIVE);
#else
	/* Panel stays powered (in deep sleep): keep CS/RST deasserted, not floating. */
	gpio_pin_configure_dt(&cs, GPIO_OUTPUT_INACTIVE);
	gpio_pin_configure_dt(&rst, GPIO_OUTPUT_INACTIVE);
#endif
}

static int epd_power_up(void)
{
#if HAVE_POWER_SWITCH
	gpio_pin_configure_dt(&pwr, GPIO_OUTPUT_ACTIVE);
	k_msleep(DT_PROP(EPD_NODE, power_on_delay_ms));
#endif
	gpio_pin_configure_dt(&cs, GPIO_OUTPUT_INACTIVE);
	gpio_pin_configure_dt(&dc, GPIO_OUTPUT_INACTIVE);
	gpio_pin_configure_dt(&rst, GPIO_OUTPUT_INACTIVE);
	gpio_pin_configure_dt(&busy, GPIO_INPUT);

	/* Hardware reset (also required to leave deep sleep). */
	gpio_pin_set_dt(&rst, 1);
	k_msleep(10);
	gpio_pin_set_dt(&rst, 0);
	k_msleep(10);
	return epd_wait_busy(1000);
}

static int epd_controller_init(void)
{
	int err;

	err = epd_cmd(CMD_SW_RESET, NULL, 0);
	if (err) {
		return err;
	}
	k_msleep(10);
	err = epd_wait_busy(1000);
	if (err) {
		return err;
	}

	/* MUX = 296 gates: (EPD_HEIGHT - 1) = 0x127, scan G0 -> G295. */
	const uint8_t drv[] = {(EPD_HEIGHT - 1) & 0xff, (EPD_HEIGHT - 1) >> 8, 0x00};
	/* Data entry: X increment, Y increment, address counter updated in X. */
	const uint8_t xr[] = {0x00, EPD_ROW_BYTES - 1};
	const uint8_t yr[] = {0x00, 0x00, (EPD_HEIGHT - 1) & 0xff, (EPD_HEIGHT - 1) >> 8};
	/* Ctrl1: normal BW + normal RED RAM; 0x80 = source output S8..S167 (128 px). */
	const uint8_t upd1[] = {0x00, 0x80};

	err = epd_cmd(CMD_DRIVER_OUTPUT, drv, sizeof(drv));
	err = err ?: epd_cmd1(CMD_DATA_ENTRY, 0x03);
	err = err ?: epd_cmd(CMD_RAM_X_RANGE, xr, sizeof(xr));
	err = err ?: epd_cmd(CMD_RAM_Y_RANGE, yr, sizeof(yr));
	err = err ?: epd_cmd1(CMD_BORDER_WAVEFORM, 0x05);
	err = err ?: epd_cmd(CMD_UPDATE_CTRL1, upd1, sizeof(upd1));
	err = err ?: epd_cmd1(CMD_TEMP_SENSOR, 0x80); /* internal temperature sensor */
	return err;
}

static int epd_set_counter(void)
{
	const uint8_t y0[] = {0x00, 0x00};
	int err = epd_cmd1(CMD_RAM_X_COUNTER, 0x00);

	return err ?: epd_cmd(CMD_RAM_Y_COUNTER, y0, sizeof(y0));
}

int epd_init(void)
{
	if (!device_is_ready(spi_dev) || !gpio_is_ready_dt(&cs) || !gpio_is_ready_dt(&dc) ||
	    !gpio_is_ready_dt(&rst) || !gpio_is_ready_dt(&busy)) {
		return -ENODEV;
	}
#if HAVE_POWER_SWITCH
	if (!gpio_is_ready_dt(&pwr)) {
		return -ENODEV;
	}
#endif
	epd_pins_release();
	return 0;
}

int epd_show(const uint8_t *bw, const uint8_t *red)
{
	int64_t t0 = k_uptime_get();
	int err;

	/*
	 * Hold SPIM resumed for the whole update. Otherwise runtime PM suspends
	 * it after every chunk and SCK/MOSI float (sleep state = disconnected)
	 * while CS is asserted, which could clock in noise.
	 */
	(void)pm_device_runtime_get(spi_dev);

	err = epd_power_up();
	err = err ?: epd_controller_init();
	err = err ?: epd_set_counter();
	err = err ?: epd_cmd_stream(CMD_WRITE_RAM_BW, bw, EPD_PLANE_BYTES, false);
	err = err ?: epd_set_counter();
	err = err ?: epd_cmd_stream(CMD_WRITE_RAM_RED, red, EPD_PLANE_BYTES,
				    IS_ENABLED(CONFIG_WX_EPD_RED_INVERT));
	/* Ctrl2 0xF7: clock+analog on, load temp, load LUT (mode 1), display, power down. */
	err = err ?: epd_cmd1(CMD_UPDATE_CTRL2, 0xF7);
	err = err ?: epd_cmd(CMD_MASTER_ACTIVATE, NULL, 0);
	if (!err) {
		k_msleep(1);
		err = epd_wait_busy(CONFIG_WX_EPD_BUSY_TIMEOUT_MS);
	}

	if (err == -ETIMEDOUT) {
		/* Don't yank power mid-waveform if the panel is merely slow (cold). */
		(void)epd_wait_busy(15000);
	}

	/* Deep sleep mode 1 (RAM retained) even after an error, then power off. */
	(void)epd_cmd1(CMD_DEEP_SLEEP, 0x01);
	k_msleep(2);
	(void)pm_device_runtime_put(spi_dev);
	epd_pins_release();

	LOG_INF("refresh %s in %lld ms", err ? "FAILED" : "done", k_uptime_get() - t0);
	return err;
}
```

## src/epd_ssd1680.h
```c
/*
 * Minimal SSD1680 black/white/red e-paper driver (128x296).
 * SPDX-License-Identifier: Apache-2.0
 */
#pragma once

#include <stddef.h>
#include <stdint.h>

#define EPD_WIDTH       128 /* source lines (native x) */
#define EPD_HEIGHT      296 /* gate lines (native y) */
#define EPD_ROW_BYTES   (EPD_WIDTH / 8)
#define EPD_PLANE_BYTES (EPD_ROW_BYTES * EPD_HEIGHT) /* 4736 */

/* Configure GPIOs and leave the panel unpowered with all lines disconnected. */
int epd_init(void);

/*
 * Power the panel, write both planes, run a full refresh, wait for BUSY,
 * put the controller into deep sleep and cut power again.
 *
 * bw:  1 = white, 0 = black.  red: 1 = red (inverted if CONFIG_WX_EPD_RED_INVERT).
 * Blocks for the whole refresh (~15-25 s). Returns 0, -ETIMEDOUT or SPI error.
 */
int epd_show(const uint8_t *bw, const uint8_t *red);
```

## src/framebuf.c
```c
/*
 * SPDX-License-Identifier: Apache-2.0
 */
#include "framebuf.h"

#include <string.h>
#include <zephyr/sys/util.h>

#include "font_gen.h"

BUILD_ASSERT(CONFIG_WX_ROTATION == 90 || CONFIG_WX_ROTATION == 270,
	     "CONFIG_WX_ROTATION must be 90 or 270");

/*
 * Landscape (x in 0..295, y in 0..127) -> native (nx in 0..127, ny in 0..295).
 * Must match host/wxd/render.py to_planes():
 *   rotate=90  (landscape rotated 90 deg CCW into portrait): nx = y,       ny = 295 - x
 *   rotate=270 (90 deg CW):                                 nx = 127 - y, ny = x
 */
static inline void land_to_native(int x, int y, int *nx, int *ny)
{
#if CONFIG_WX_ROTATION == 90
	*nx = y;
	*ny = (EPD_HEIGHT - 1) - x;
#else
	*nx = (EPD_WIDTH - 1) - y;
	*ny = x;
#endif
}

void fb_clear(uint8_t *fb)
{
	memset(fb, 0xff, EPD_PLANE_BYTES);                  /* all white */
	memset(fb + EPD_PLANE_BYTES, 0x00, EPD_PLANE_BYTES); /* no red */
}

void fb_pixel(uint8_t *fb, int x, int y, enum fb_color c)
{
	int nx, ny;

	if (x < 0 || y < 0 || x >= FB_LAND_W || y >= FB_LAND_H) {
		return;
	}
	land_to_native(x, y, &nx, &ny);

	size_t idx = (size_t)ny * EPD_ROW_BYTES + (size_t)(nx / 8);
	uint8_t mask = 0x80 >> (nx % 8);
	uint8_t *bw = fb;
	uint8_t *red = fb + EPD_PLANE_BYTES;

	switch (c) {
	case FB_WHITE:
		bw[idx] |= mask;
		red[idx] &= ~mask;
		break;
	case FB_BLACK:
		bw[idx] &= ~mask;
		red[idx] &= ~mask;
		break;
	case FB_RED:
		bw[idx] |= mask; /* white underneath; red wins anyway */
		red[idx] |= mask;
		break;
	}
}

void fb_fill_rect(uint8_t *fb, int x, int y, int w, int h, enum fb_color c)
{
	for (int j = y; j < y + h; j++) {
		for (int i = x; i < x + w; i++) {
			fb_pixel(fb, i, j, c);
		}
	}
}

void fb_frame(uint8_t *fb, int t, enum fb_color c)
{
	fb_fill_rect(fb, 0, 0, FB_LAND_W, t, c);
	fb_fill_rect(fb, 0, FB_LAND_H - t, FB_LAND_W, t, c);
	fb_fill_rect(fb, 0, 0, t, FB_LAND_H, c);
	fb_fill_rect(fb, FB_LAND_W - t, 0, t, FB_LAND_H, c);
}

static int glyph_index(char ch)
{
	static const char chars[] = FONT_CHARS;

	if (ch >= 'a' && ch <= 'z') {
		ch = (char)(ch - 'a' + 'A');
	}
	for (int i = 0; chars[i]; i++) {
		if (chars[i] == ch) {
			return i;
		}
	}
	return 0; /* space */
}

int fb_text_width(const char *s, int scale)
{
	int w = 0;

	for (; *s; s++) {
		w += font_glyphs[glyph_index(*s)].width * scale;
	}
	return w;
}

int fb_text_height(int scale)
{
	return FONT_HEIGHT * scale;
}

void fb_text(uint8_t *fb, int x, int y, const char *s, enum fb_color c, int scale)
{
	for (; *s; s++) {
		const struct font_glyph *g = &font_glyphs[glyph_index(*s)];
		const uint8_t *bm = &font_bitmap[g->offset];
		int rb = (g->width + 7) / 8;

		for (int gy = 0; gy < FONT_HEIGHT; gy++) {
			for (int gx = 0; gx < g->width; gx++) {
				if (bm[gy * rb + gx / 8] & (0x80 >> (gx % 8))) {
					fb_fill_rect(fb, x + gx * scale, y + gy * scale, scale,
						     scale, c);
				}
			}
		}
		x += g->width * scale;
	}
}

void fb_draw_splash(uint8_t *fb, const char *line1, const char *line2)
{
	fb_clear(fb);
	fb_fill_rect(fb, 0, 0, FB_LAND_W, 8, FB_RED);

	int w1 = fb_text_width(line1, 2);
	int w2 = fb_text_width(line2, 1);

	fb_text(fb, (FB_LAND_W - w1) / 2, 22, line1, FB_BLACK, 2);
	fb_text(fb, (FB_LAND_W - w2) / 2, 22 + fb_text_height(2) + 10, line2, FB_BLACK, 1);
}

/*
 * Red badge with white text, anchored to the bottom-right corner: in the host
 * layout (docs/layout.md) that is the observation time + battery, which is
 * exactly the information an OFFLINE / LOW BATTERY badge supersedes.
 */
static void badge(uint8_t *fb, const char *text)
{
	const int pad = 4;
	int w = fb_text_width(text, 1) + 2 * pad;
	int h = fb_text_height(1) + 2;

	fb_fill_rect(fb, FB_LAND_W - w, FB_LAND_H - h, w, h, FB_RED);
	fb_text(fb, FB_LAND_W - w + pad, FB_LAND_H - h + 1, text, FB_WHITE, 1);
}

void fb_draw_offline(uint8_t *fb)
{
	fb_frame(fb, 3, FB_RED);
	badge(fb, "OFFLINE");
}

void fb_draw_low_batt(uint8_t *fb)
{
	fb_frame(fb, 3, FB_RED);
	badge(fb, "LOW BATTERY");
}
```

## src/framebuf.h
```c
/*
 * Two-plane framebuffer in panel-native layout (protocol payload format 0),
 * plus a few drawing helpers in *landscape* coordinates for on-device
 * overlays (splash, offline, low battery).
 * SPDX-License-Identifier: Apache-2.0
 */
#pragma once

#include <stdbool.h>
#include <stdint.h>

#include "epd_ssd1680.h"

#define FB_LAND_W     EPD_HEIGHT /* 296 */
#define FB_LAND_H     EPD_WIDTH  /* 128 */
#define FB_BYTES      (2 * EPD_PLANE_BYTES) /* 9472: BW || RED */

enum fb_color {
	FB_WHITE,
	FB_BLACK,
	FB_RED,
};

/* fb[0..4735] = BW plane (1 = white), fb[4736..] = RED plane (1 = red). */
void fb_clear(uint8_t *fb);
void fb_pixel(uint8_t *fb, int x, int y, enum fb_color c);
void fb_fill_rect(uint8_t *fb, int x, int y, int w, int h, enum fb_color c);
void fb_frame(uint8_t *fb, int thickness, enum fb_color c);
int fb_text_width(const char *s, int scale);
int fb_text_height(int scale);
/* Draws text with its top-left at (x, y). Unknown characters render as space. */
void fb_text(uint8_t *fb, int x, int y, const char *s, enum fb_color c, int scale);

/* Screens/overlays */
void fb_draw_splash(uint8_t *fb, const char *line1, const char *line2);
/* Red frame + "OFFLINE" badge drawn over whatever is in fb. */
void fb_draw_offline(uint8_t *fb);
/* Red "LOW BATTERY" badge. */
void fb_draw_low_batt(uint8_t *fb);
```

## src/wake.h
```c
/*
 * SPDX-License-Identifier: Apache-2.0
 */
#pragma once

#include "wx_service.h"

/* Views map 1:1 to the image slots of the BLE protocol (docs/protocol.md). */
#define WX_VIEW_WEATHER WX_SLOT_WEATHER
#define WX_VIEW_TIDE    WX_SLOT_TIDE

/* Provided by main.c: end the current sleep and poll the host immediately.
 * Safe from ISR and thread context. A request made while a poll/refresh is
 * running is kept and triggers the next poll right after it.
 */
void wx_wake_now(void);

/* Provided by main.c: show the given view (redraws the panel from the stored
 * slot image, no host contact needed). Same context/latching rules as above.
 */
void wx_request_view(int view);
```
